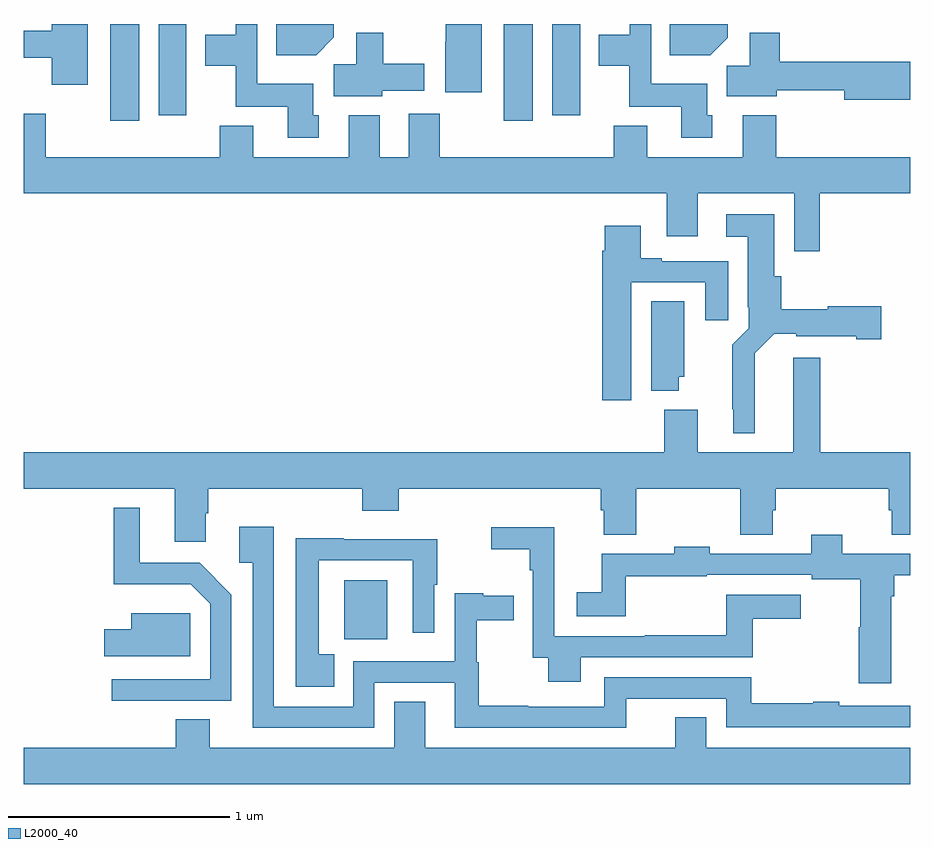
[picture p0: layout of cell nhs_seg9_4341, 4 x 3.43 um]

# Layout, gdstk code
import gdstk
lib = gdstk.Library(unit=1e-6, precision=1e-09)
def R(c, l, rs):  # rectangles x0, y0, x1, y1
    for r in rs: c.add(gdstk.rectangle(r[:2], r[2:], *l))
def P(c, l, *ps):  # polygons
    for p in ps: c.add(gdstk.Polygon(p, *l))
L2000_40 = (2000, 40)

nhs_seg9_4341 = lib.new_cell('nhs_seg9_4341')
R(nhs_seg9_4341, L2000_40, [(360.446,1211.724,360.64,1211.992), (359.39,1214.064,359.521,1214.5), (361.166,1214.064,361.297,1214.5), (359.609,1214.088,359.734,1214.5), (361.385,1214.088,361.51,1214.5)])
P(nhs_seg9_4341, L2000_40, [(360.4,1214.441),(360.4,1214.5),(360.139,1214.5),(360.139,1214.36),(360.319,1214.36)],
  [(362.176,1214.438),(362.176,1214.5),(361.915,1214.5),(361.915,1214.36),(362.098,1214.36)],
  [(361.066,1214.5),(360.904,1214.5),(360.904,1214.42),(360.902,1214.42),(360.902,1214.193),(361.066,1214.193)],
  [(360.331,1214.088),(360.307,1214.088),(360.307,1214.23),(360.054,1214.23),(360.054,1214.5),(359.958,1214.5),(359.958,1214.452),(359.819,1214.452),(359.819,1214.312),(359.956,1214.312),(359.956,1214.126),(360.191,1214.126),(360.191,1213.986),(360.331,1213.986)],
  [(362.107,1214.088),(362.083,1214.088),(362.083,1214.23),(361.83,1214.23),(361.83,1214.5),(361.734,1214.5),(361.734,1214.452),(361.595,1214.452),(361.595,1214.312),(361.732,1214.312),(361.732,1214.126),(361.967,1214.126),(361.967,1213.986),(362.107,1213.986)],
  [(359.29,1214.5),(359.128,1214.5),(359.128,1214.47),(359,1214.47),(359,1214.348),(359.126,1214.348),(359.126,1214.226),(359.29,1214.226)],
  [(363,1214.33),(362.411,1214.33),(362.411,1214.461),(362.276,1214.461),(362.276,1214.312),(362.171,1214.312),(362.171,1214.174),(362.398,1214.174),(362.398,1214.202),(362.702,1214.202),(362.702,1214.159),(363,1214.159)],
  [(360.618,1214.198),(360.808,1214.198),(360.808,1214.32),(360.622,1214.32),(360.622,1214.461),(360.5,1214.461),(360.5,1214.318),(360.398,1214.318),(360.398,1214.174),(360.618,1214.174)],
  [(362.591,1213.736),(363,1213.736),(363,1213.9),(362.396,1213.9),(362.396,1214.089),(362.243,1214.089),(362.243,1213.9),(361.813,1213.9),(361.813,1214.041),(361.661,1214.041),(361.661,1213.9),(360.877,1213.9),(360.877,1214.095),(360.737,1214.095),(360.737,1213.9),(360.607,1213.9),(360.607,1214.089),(360.467,1214.089),(360.467,1213.9),(360.037,1213.9),(360.037,1214.041),(359.885,1214.041),(359.885,1213.9),(359.101,1213.9),(359.101,1214.095),(359,1214.095),(359,1213.736),(361.901,1213.736),(361.901,1213.542),(362.041,1213.542),(362.041,1213.736),(362.475,1213.736),(362.475,1213.476),(362.591,1213.476)],
  [(362.299,1213.016),(362.385,1213.103),(362.484,1213.103),(362.484,1213.091),(362.756,1213.091),(362.756,1213.079),(362.869,1213.079),(362.869,1213.226),(362.628,1213.226),(362.628,1213.213),(362.417,1213.213),(362.417,1213.362),(362.386,1213.362),(362.386,1213.642),(362.169,1213.642),(362.169,1213.541),(362.267,1213.541),(362.267,1213.222),(362.271,1213.222),(362.271,1213.128),(362.197,1213.054),(362.197,1212.763),(362.201,1212.763),(362.201,1212.653),(362.299,1212.653)],
  [(361.741,1213.335),(362.075,1213.335),(362.075,1213.164),(362.179,1213.164),(362.179,1213.431),(361.879,1213.431),(361.879,1213.444),(361.783,1213.444),(361.783,1213.591),(361.622,1213.591),(361.622,1213.478),(361.61,1213.478),(361.61,1212.804),(361.741,1212.804)],
  [(361.954,1212.909),(361.981,1212.909),(361.981,1213.25),(361.832,1213.25),(361.832,1212.845),(361.954,1212.845)],
  [(359.821,1212.293),(359.834,1212.293),(359.834,1212.404),(360.527,1212.404),(360.527,1212.305),(360.692,1212.305),(360.692,1212.404),(361.604,1212.404),(361.604,1212.306),(361.616,1212.306),(361.616,1212.196),(361.764,1212.196),(361.764,1212.404),(362.233,1212.404),(362.233,1212.196),(362.38,1212.196),(362.38,1212.306),(362.393,1212.306),(362.393,1212.404),(362.903,1212.404),(362.903,1212.306),(362.915,1212.306),(362.915,1212.196),(363,1212.196),(363,1212.568),(362.594,1212.568),(362.594,1212.994),(362.471,1212.994),(362.471,1212.568),(362.041,1212.568),(362.041,1212.76),(361.889,1212.76),(361.889,1212.568),(359,1212.568),(359,1212.404),(359.681,1212.404),(359.681,1212.165),(359.821,1212.165)],
  [(359.937,1211.926),(359.794,1212.069),(359.524,1212.069),(359.524,1212.319),(359.407,1212.319),(359.407,1211.972),(359.755,1211.972),(359.841,1211.886),(359.841,1211.544),(359.397,1211.544),(359.397,1211.448),(359.937,1211.448)],
  [(360.582,1211.529),(360.944,1211.529),(360.944,1211.325),(361.719,1211.325),(361.719,1211.457),(362.169,1211.457),(362.169,1211.328),(363,1211.328),(363,1211.424),(362.678,1211.424),(362.678,1211.444),(362.562,1211.444),(362.562,1211.437),(362.281,1211.437),(362.281,1211.553),(361.62,1211.553),(361.62,1211.421),(361.277,1211.421),(361.277,1211.424),(361.054,1211.424),(361.054,1211.622),(361.044,1211.622),(361.044,1211.811),(361.21,1211.811),(361.21,1211.921),(361.073,1211.921),(361.073,1211.932),(360.945,1211.932),(360.945,1211.625),(360.486,1211.625),(360.486,1211.421),(360.129,1211.421),(360.129,1212.232),(359.973,1212.232),(359.973,1212.071),(360.033,1212.071),(360.033,1211.325),(360.582,1211.325)],
  [(361.513,1211.643),(362.29,1211.643),(362.29,1211.817),(362.506,1211.817),(362.506,1211.925),(362.169,1211.925),(362.169,1211.744),(361.801,1211.744),(361.801,1211.739),(361.394,1211.739),(361.394,1212.229),(361.11,1212.229),(361.11,1212.131),(361.284,1212.131),(361.284,1212.035),(361.296,1212.035),(361.296,1211.641),(361.366,1211.641),(361.366,1211.534),(361.513,1211.534)],
  [(362.914,1211.918),(362.927,1211.918),(362.927,1212.014),(363,1212.014),(363,1212.111),(362.692,1212.111),(362.692,1212.196),(362.552,1212.196),(362.552,1212.111),(362.094,1212.111),(362.094,1212.142),(361.934,1212.142),(361.934,1212.111),(361.607,1212.111),(361.607,1211.938),(361.494,1211.938),(361.494,1211.828),(361.717,1211.828),(361.717,1212.01),(362.082,1212.01),(362.082,1212.015),(362.556,1212.015),(362.556,1211.995),(362.774,1211.995),(362.774,1211.778),(362.767,1211.778),(362.767,1211.526),(362.914,1211.526)],
  [(360.401,1211.657),(360.331,1211.657),(360.331,1212.081),(360.756,1212.081),(360.756,1211.754),(360.852,1211.754),(360.852,1211.97),(360.865,1211.97),(360.865,1212.177),(360.443,1212.177),(360.443,1212.18),(360.227,1212.18),(360.227,1211.51),(360.401,1211.51)],
  [(359.751,1211.842),(359.486,1211.842),(359.486,1211.77),(359.364,1211.77),(359.364,1211.648),(359.751,1211.648)],
  [(363,1211.236),(362.08,1211.236),(362.08,1211.372),(361.94,1211.372),(361.94,1211.236),(360.811,1211.236),(360.811,1211.444),(360.671,1211.444),(360.671,1211.236),(359.839,1211.236),(359.839,1211.363),(359.687,1211.363),(359.687,1211.236),(359,1211.236),(359,1211.072),(363,1211.072)])

lib.write_gds('nhs_seg9_4341.gds')
